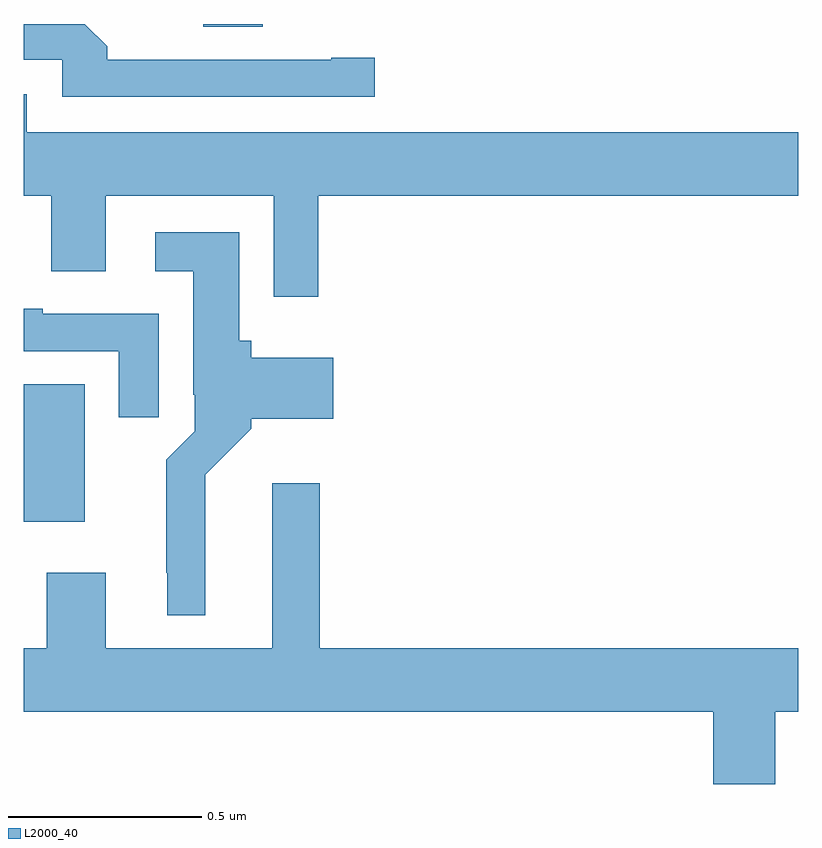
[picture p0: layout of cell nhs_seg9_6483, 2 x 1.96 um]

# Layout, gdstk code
import gdstk
lib = gdstk.Library(unit=1e-6, precision=1e-09)
def R(c, l, rs):  # rectangles x0, y0, x1, y1
    for r in rs: c.add(gdstk.rectangle(r[:2], r[2:], *l))
def P(c, l, *ps):  # polygons
    for p in ps: c.add(gdstk.Polygon(p, *l))
L2000_40 = (2000, 40)

nhs_seg9_6483 = lib.new_cell('nhs_seg9_6483')
R(nhs_seg9_6483, L2000_40, [(192,1226.214,192.157,1226.57), (192.464,1227.493,192.617,1227.5)])
P(nhs_seg9_6483, L2000_40, [(192.907,1227.413),(192.794,1227.413),(192.794,1227.408),(192.215,1227.408),(192.215,1227.442),(192.157,1227.5),(192,1227.5),(192,1227.408),(192.099,1227.408),(192.099,1227.312),(192.907,1227.312)],
  [(192.761,1227.056),(194,1227.056),(194,1227.22),(192.007,1227.22),(192.007,1227.319),(192,1227.319),(192,1227.056),(192.071,1227.056),(192.071,1226.862),(192.211,1226.862),(192.211,1227.056),(192.645,1227.056),(192.645,1226.796),(192.761,1226.796)],
  [(192.469,1226.336),(192.587,1226.454),(192.587,1226.48),(192.799,1226.48),(192.799,1226.638),(192.587,1226.638),(192.587,1226.682),(192.556,1226.682),(192.556,1226.962),(192.339,1226.962),(192.339,1226.861),(192.437,1226.861),(192.437,1226.542),(192.441,1226.542),(192.441,1226.448),(192.368,1226.375),(192.368,1226.083),(192.371,1226.083),(192.371,1225.973),(192.469,1225.973)],
  [(192.349,1226.751),(192.049,1226.751),(192.049,1226.764),(192,1226.764),(192,1226.655),(192.245,1226.655),(192.245,1226.484),(192.349,1226.484)],
  [(193.941,1225.724),(194,1225.724),(194,1225.888),(192.764,1225.888),(192.764,1226.314),(192.641,1226.314),(192.641,1225.888),(192.211,1225.888),(192.211,1226.083),(192.059,1226.083),(192.059,1225.888),(192,1225.888),(192,1225.724),(193.781,1225.724),(193.781,1225.537),(193.941,1225.537)])

lib.write_gds('nhs_seg9_6483.gds')
